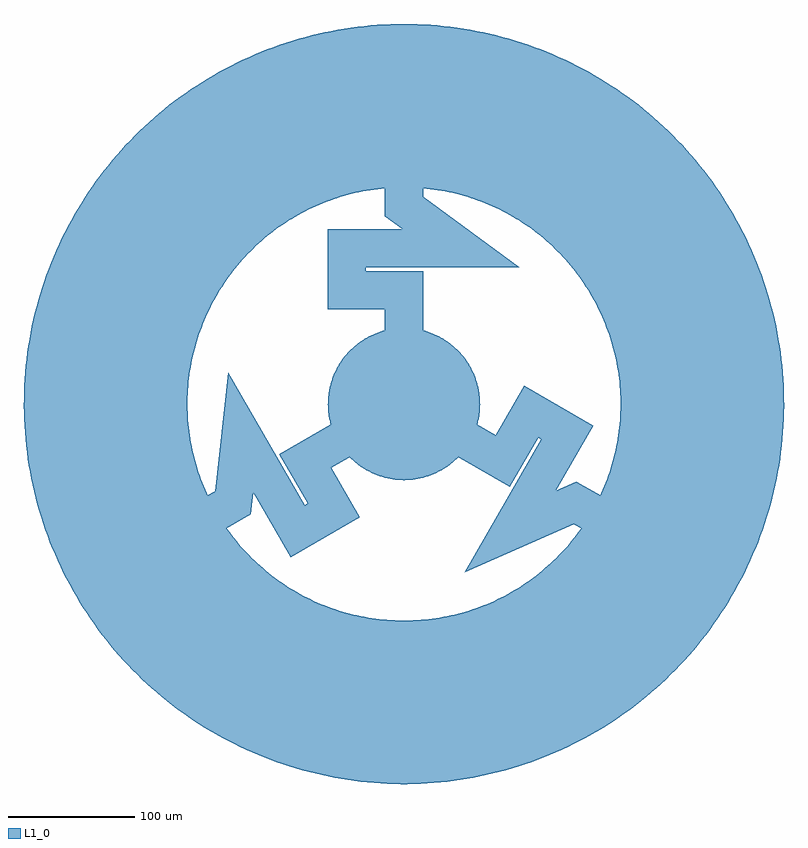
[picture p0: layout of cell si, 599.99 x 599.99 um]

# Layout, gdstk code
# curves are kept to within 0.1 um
import gdstk
lib = gdstk.Library(unit=1e-6, precision=1e-09)
def P(c, l, *ps):  # polygons
    for p in ps: c.add(gdstk.Polygon(p, *l))
L1_0 = (1, 0)

c_si = lib.new_cell('si')
P(c_si, L1_0, [(-0.525,-59.998),(-6.811,-59.612),(-11.995,-58.789),(-18.091,-57.208),(-23.022,-55.408),(-28.703,-52.689),(-34.067,-49.391),(-39.057,-45.548),(-42.888,-41.96),(-46.391,-38.051),(-50.124,-32.979),(-53.305,-27.543),(-55.508,-22.779),(-57.59,-16.835),(-58.841,-11.738),(-59.747,-5.505),(-59.995,0.788),(-59.582,7.072),(-58.736,12.252),(-57.128,18.341),(-54.891,24.228),(-52.049,29.848),(-49.241,34.283),(-45.376,39.256),(-41.772,43.071),(-37.848,46.557),(-32.759,50.268),(-27.31,53.425),(-22.536,55.607),(-17.59,57.364),(-11.48,58.892),(-5.244,59.77),(1.05,59.991),(7.332,59.55),(12.509,58.682),(17.59,57.364),(23.506,55.204),(29.163,52.436),(33.634,49.687),(38.657,45.888),(43.253,41.583),(47.374,36.82),(50.411,32.539),(53.544,27.076),(56.087,21.314),(58.012,15.318),(59.129,10.189),(59.793,4.982),(59.986,-1.313),(59.518,-7.593),(58.626,-12.766),(57.286,-17.841),(55.101,-23.747),(52.308,-29.392),(49.539,-33.851),(46.391,-38.051),(42.147,-42.704),(38.254,-46.224),(33.198,-49.979),(27.776,-53.184),(23.022,-55.408),(17.087,-57.515),(10.964,-58.99),(4.721,-59.814)],
  [(-2.625,-299.989),(-18.366,-299.437),(-34.055,-298.061),(-49.651,-295.863),(-59.975,-293.944),(-75.319,-290.391),(-90.455,-286.038),(-105.342,-280.897),(-119.939,-274.981),(-134.205,-268.308),(-143.513,-263.447),(-157.141,-255.552),(-170.336,-246.953),(-183.062,-237.673),(-191.268,-231.121),(-203.134,-220.764),(-214.44,-209.799),(-221.651,-202.166),(-231.955,-190.255),(-241.62,-177.819),(-250.62,-164.893),(-256.237,-156.021),(-264.072,-142.359),(-271.179,-128.304),(-277.539,-113.895),(-283.134,-99.172),(-287.949,-84.176),(-290.718,-74.047),(-294.204,-58.688),(-296.878,-43.167),(-298.207,-32.751),(-299.515,-17.055),(-299.997,-1.313),(-299.859,9.187),(-299.354,19.676),(-298.482,30.14),(-297.245,40.567),(-295.643,50.945),(-292.562,66.391),(-290.059,76.589),(-287.201,86.693),(-283.991,96.691),(-278.525,111.462),(-274.454,121.141),(-270.046,130.672),(-265.308,140.042),(-260.244,149.242),(-254.862,158.258),(-246.489,171),(0,171),(-5.984,170.895),(-11.962,170.581),(-20.897,169.718),(-29.776,168.388),(-35.65,167.242),(-41.482,165.892),(-50.131,163.487),(-55.821,161.632),(-61.444,159.58),(-66.991,157.332),(-72.456,154.891),(-80.485,150.875),(-85.716,147.965),(-90.842,144.875),(-98.32,139.908),(-103.156,136.381),(-107.866,132.688),(-114.681,126.844),(-119.049,122.753),(-123.272,118.511),(-127.344,114.124),(-131.26,109.598),(-135.016,104.937),(-138.605,100.148),(-143.67,92.736),(-146.828,87.651),(-149.805,82.459),(-153.926,74.483),(-157.623,66.302),(-159.847,60.745),(-161.875,55.114),(-163.705,49.415),(-165.334,43.656),(-167.397,34.918),(-168.999,26.085),(-169.808,20.155),(-170.409,14.2),(-170.92,5.237),(-170.998,-0.748),(-170.867,-6.732),(-170.279,-15.69),(-169.625,-21.64),(-168.764,-27.563),(-167.696,-33.452),(-166.423,-39.3),(-164.131,-47.98),(-162.351,-53.695),(-160.372,-59.344),(-157.037,-67.679),(-153.269,-75.827),(-150.521,-81.144),(-147.589,-86.362),(-142.853,-93.989),(-139.476,-98.931),(-135.929,-103.752),(-132.214,-108.445),(-128.338,-113.006),(-122.231,-119.585),(-117.971,-123.79),(-113.566,-127.843),(-106.7,-133.627),(-101.958,-137.279),(-97.092,-140.763),(-89.57,-145.664),(-81.802,-150.165),(-76.497,-152.935),(-71.098,-155.519),(-62.838,-159.036),(-57.234,-161.138),(-51.559,-163.042),(-42.932,-165.523),(-37.113,-166.924),(-31.248,-168.121),(-25.345,-169.111),(-19.411,-169.895),(-10.468,-170.679),(-1.496,-170.993),(4.489,-170.941),(10.468,-170.679),(19.411,-169.895),(25.345,-169.111),(31.248,-168.121),(37.113,-166.924),(42.932,-165.523),(51.559,-163.042),(57.234,-161.138),(62.838,-159.036),(71.098,-155.519),(76.497,-152.935),(81.802,-150.165),(89.57,-145.664),(97.092,-140.763),(101.958,-137.279),(106.7,-133.627),(113.566,-127.843),(117.971,-123.79),(122.231,-119.585),(128.338,-113.006),(134.092,-106.115),(139.476,-98.931),(144.476,-91.475),(149.078,-83.766),(153.269,-75.827),(157.037,-67.679),(160.372,-59.344),(163.266,-50.846),(165.709,-42.207),(167.696,-33.452),(169.221,-24.605),(170.279,-15.69),(170.867,-6.732),(170.985,2.245),(170.632,11.215),(169.808,20.155),(168.516,29.039),(166.76,37.843),(164.544,46.542),(161.875,55.114),(158.759,63.533),(155.206,71.778),(151.225,79.824),(146.828,87.651),(142.025,95.236),(136.831,102.558),(131.26,109.598),(125.328,116.336),(119.049,122.753),(112.443,128.831),(105.527,134.555),(100.753,138.166),(95.856,141.607),(90.842,144.875),(85.716,147.965),(80.485,150.875),(75.156,153.599),(69.734,156.135),(64.227,158.48),(58.642,160.63),(52.984,162.584),(47.262,164.339),(41.482,165.892),(35.65,167.242),(29.776,168.388),(23.864,169.327),(17.924,170.058),(8.974,170.764),(0,171),(-246.489,171),(-243.167,175.698),(-236.869,184.1),(-226.881,196.278),(-219.873,204.098),(-212.596,211.667),(-201.194,222.533),(-193.283,229.438),(-185.135,236.062),(-172.491,245.452),(-163.795,251.339),(-154.899,256.917),(-141.202,264.692),(-131.852,269.472),(-122.341,273.921),(-107.796,279.964),(-92.955,285.236),(-82.916,288.314),(-72.775,291.039),(-57.4,294.458),(-47.06,296.286),(-36.662,297.751),(-26.219,298.852),(-15.744,299.587),(0,300),(15.744,299.587),(26.219,298.852),(41.867,297.064),(57.4,294.458),(72.775,291.039),(87.949,286.819),(102.88,281.808),(112.679,278.035),(127.116,271.738),(141.202,264.692),(154.899,256.917),(168.169,248.434),(180.975,239.266),(193.283,229.438),(205.058,218.978),(212.596,211.667),(219.873,204.098),(230.281,192.277),(240.055,179.927),(249.167,167.08),(257.592,153.773),(265.308,140.042),(272.292,125.926),(276.532,116.319),(280.433,106.57),(285.64,91.706),(290.059,76.589),(293.679,61.26),(296.489,45.763),(298.482,30.14),(299.653,14.434),(299.997,-1.313),(299.515,-17.055),(298.207,-32.751),(296.878,-43.167),(294.204,-58.688),(290.718,-74.047),(287.949,-84.176),(283.134,-99.172),(277.539,-113.895),(271.179,-128.304),(264.072,-142.359),(256.237,-156.021),(250.62,-164.893),(241.62,-177.819),(231.955,-190.255),(221.651,-202.166),(210.735,-213.52),(203.134,-220.764),(191.268,-231.121),(178.874,-240.84),(165.988,-249.896),(152.645,-258.263),(143.513,-263.447),(129.489,-270.615),(115.108,-277.038),(100.41,-282.697),(85.435,-287.577),(70.225,-291.665),(54.821,-294.949),(39.266,-297.419),(23.603,-299.07),(7.875,-299.897)])
c_si.add(gdstk.FlexPath([(0,0),(0,90),(-45,90),(-45,123),(45,123),(45,123),(0,156),(0,171)], 30, ends="flush", simple_path=True, layer=1, datatype=0))  # L1_0
c_si.add(gdstk.FlexPath([(0,0),(-77.942,-45),(-55.442,-83.971),(-84.021,-100.471),(-129.021,-22.529),(-129.021,-22.529),(-135.1,-78),(-148.09,-85.5)], 30, ends="flush", simple_path=True, layer=1, datatype=0))  # L1_0
c_si.add(gdstk.FlexPath([(0,0),(77.942,-45),(100.442,-6.029),(129.021,-22.529),(84.021,-100.471),(84.021,-100.471),(135.1,-78),(148.09,-85.5)], 30, ends="flush", simple_path=True, layer=1, datatype=0))  # L1_0

lib.write_gds('si.gds')
